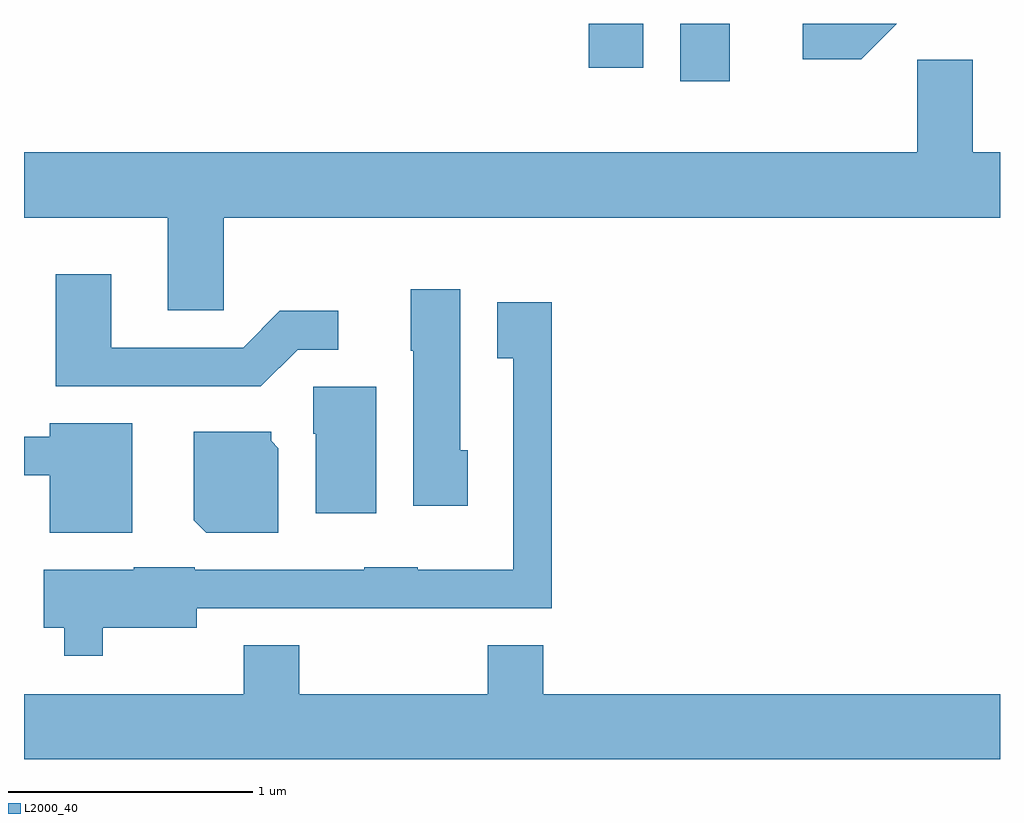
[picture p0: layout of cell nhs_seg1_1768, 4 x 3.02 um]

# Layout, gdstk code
import gdstk
lib = gdstk.Library(unit=1e-6, precision=1e-09)
def R(c, l, rs):  # rectangles x0, y0, x1, y1
    for r in rs: c.add(gdstk.rectangle(r[:2], r[2:], *l))
def P(c, l, *ps):  # polygons
    for p in ps: c.add(gdstk.Polygon(p, *l))
L2000_40 = (2000, 40)

nhs_seg1_1768 = lib.new_cell('nhs_seg1_1768')
R(nhs_seg1_1768, L2000_40, [(242.301,893.476,242.504,893.712), (241.926,893.531,242.149,893.712)])
P(nhs_seg1_1768, L2000_40, [(243.188,893.712),(242.803,893.712),(242.803,893.566),(243.042,893.566)],
  [(240.429,892.916),(243.611,892.916),(243.611,893.184),(243.499,893.184),(243.499,893.564),(243.271,893.564),(243.271,893.184),(239.611,893.184),(239.611,892.916),(240.201,892.916),(240.201,892.536),(240.429,892.536)],
  [(240.732,892.376),(240.898,892.376),(240.898,892.534),(240.659,892.534),(240.509,892.384),(239.969,892.384),(239.969,892.684),(239.741,892.684),(239.741,892.226),(240.582,892.226)],
  [(241.429,891.964),(241.399,891.964),(241.399,892.624),(241.196,892.624),(241.196,892.37),(241.206,892.37),(241.206,891.736),(241.429,891.736)],
  [(239.934,891.236),(240.319,891.236),(240.319,891.316),(241.774,891.316),(241.774,892.569),(241.551,892.569),(241.551,892.341),(241.616,892.341),(241.616,891.474),(241.225,891.474),(241.225,891.484),(241.005,891.484),(241.005,891.474),(240.31,891.474),(240.31,891.484),(240.06,891.484),(240.06,891.474),(239.691,891.474),(239.691,891.236),(239.776,891.236),(239.776,891.121),(239.934,891.121)],
  [(241.054,892.224),(240.796,892.224),(240.796,892.03),(240.806,892.03),(240.806,891.706),(241.054,891.706)],
  [(240.054,892.074),(239.716,892.074),(239.716,892.019),(239.611,892.019),(239.611,891.861),(239.716,891.861),(239.716,891.626),(240.054,891.626)],
  [(240.654,891.972),(240.624,892.002),(240.624,892.039),(240.306,892.039),(240.306,891.677),(240.357,891.626),(240.654,891.626)],
  [(243.611,890.964),(241.739,890.964),(241.739,891.164),(241.511,891.164),(241.511,890.964),(240.739,890.964),(240.739,891.164),(240.511,891.164),(240.511,890.964),(239.611,890.964),(239.611,890.696),(243.611,890.696)])

lib.write_gds('nhs_seg1_1768.gds')
